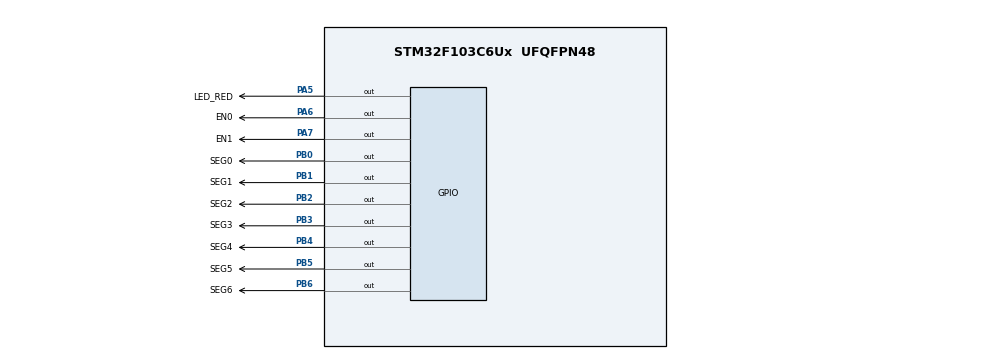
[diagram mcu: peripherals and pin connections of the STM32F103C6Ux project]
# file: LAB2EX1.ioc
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Mcu.Family=STM32F1
Mcu.Name=STM32F103C6Ux
Mcu.Package=UFQFPN48
NVIC.PriorityGroup=NVIC_PRIORITYGROUP_4
NVIC.TIM2_IRQn=true\:0\:0\:false\:false\:true\:true\:true
PA5.GPIO_Label=LED_RED
PA5.Signal=GPIO_Output
PA6.GPIO_Label=EN0
PA6.Signal=GPIO_Output
PA7.GPIO_Label=EN1
PA7.Signal=GPIO_Output
PB0.GPIO_Label=SEG0
PB0.Signal=GPIO_Output
PB1.GPIO_Label=SEG1
PB1.Signal=GPIO_Output
PB2.GPIO_Label=SEG2
PB2.Signal=GPIO_Output
PB3.GPIO_Label=SEG3
PB3.Signal=GPIO_Output
PB4.GPIO_Label=SEG4
PB4.Signal=GPIO_Output
PB5.GPIO_Label=SEG5
PB5.Signal=GPIO_Output
PB6.GPIO_Label=SEG6
PB6.Signal=GPIO_Output
ProjectManager.HeapSize=0x200
ProjectManager.StackSize=0x400
ProjectManager.TargetToolchain=STM32CubeIDE
RCC.APB1Freq_Value=8000000
RCC.APB2Freq_Value=8000000
TIM2.Period=9
TIM2.Prescaler=7999
VP_SYS_VS_ND.Mode=No_Debug
VP_TIM2_VS_ClockSourceINT.Mode=Internal
board=custom

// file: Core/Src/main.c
/* USER CODE BEGIN Header */
/**
  ******************************************************************************
  * @file           : main.c
  * @brief          : Main program body
  ******************************************************************************
  * @attention
  *
  * <h2><center>&copy; Copyright (c) 2025 STMicroelectronics.
  * All rights reserved.</center></h2>
  *
  * This software component is licensed by ST under BSD 3-Clause license,
  * the "License"; You may not use this file except in compliance with the
  * License. You may obtain a copy of the License at:
  *                        opensource.org/licenses/BSD-3-Clause
  *
  ******************************************************************************
  */
/* USER CODE END Header */
#include "main.h"

TIM_HandleTypeDef htim2;

/* USER CODE BEGIN PV */

static const uint8_t segmap[10] = {
  0b1111110, // 0
  0b0110000, // 1
  0b1101101, // 2
  0b1111001, // 3
  0b0110011, // 4
  0b1011011, // 5
  0b1011111, // 6
  0b1110000, // 7
  0b1111111, // 8
  0b1111011  // 9
};

// active-low for common-anode
#define SEG_ON  GPIO_PIN_RESET
#define SEG_OFF GPIO_PIN_SET

// ===== write segments =====

static inline void write_segments(uint8_t m) {
  HAL_GPIO_WritePin(SEG6_GPIO_Port, SEG6_Pin, (m & (1<<0)) ? SEG_ON : SEG_OFF); // a
  HAL_GPIO_WritePin(SEG5_GPIO_Port, SEG5_Pin, (m & (1<<1)) ? SEG_ON : SEG_OFF); // b
  HAL_GPIO_WritePin(SEG4_GPIO_Port, SEG4_Pin, (m & (1<<2)) ? SEG_ON : SEG_OFF); // c
  HAL_GPIO_WritePin(SEG3_GPIO_Port, SEG3_Pin, (m & (1<<3)) ? SEG_ON : SEG_OFF); // d
  HAL_GPIO_WritePin(SEG2_GPIO_Port, SEG2_Pin, (m & (1<<4)) ? SEG_ON : SEG_OFF); // e
  HAL_GPIO_WritePin(SEG1_GPIO_Port, SEG1_Pin, (m & (1<<5)) ? SEG_ON : SEG_OFF); // f
  HAL_GPIO_WritePin(SEG0_GPIO_Port, SEG0_Pin, (m & (1<<6)) ? SEG_ON : SEG_OFF); // g
}

void display7SEG(int num) {
  if (num < 0 || num > 9) num = 0;
  write_segments(segmap[num]);
}

static volatile uint16_t cnt_500ms = 0;
static volatile uint16_t cnt_1s    = 0;
static volatile uint8_t  which_digit = 0;

/* USER CODE END PV */

void SystemClock_Config(void);
static void MX_GPIO_Init(void);
static void MX_TIM2_Init(void);

/* USER CODE BEGIN 0 */
static inline void enable_EN0(void){
  HAL_GPIO_WritePin(EN0_GPIO_Port, EN0_Pin, GPIO_PIN_RESET); // enable
  HAL_GPIO_WritePin(EN1_GPIO_Port, EN1_Pin, GPIO_PIN_SET);   // disable other
}
static inline void enable_EN1(void){
  HAL_GPIO_WritePin(EN0_GPIO_Port, EN0_Pin, GPIO_PIN_SET);   // disable other
  HAL_GPIO_WritePin(EN1_GPIO_Port, EN1_Pin, GPIO_PIN_RESET); // enable
}
static inline void disable_both(void){
  HAL_GPIO_WritePin(EN0_GPIO_Port, EN0_Pin, GPIO_PIN_SET);
  HAL_GPIO_WritePin(EN1_GPIO_Port, EN1_Pin, GPIO_PIN_SET);
}

static inline void show_left_digit(void){
  display7SEG(1);
  enable_EN0();
}
static inline void show_right_digit(void){
  display7SEG(2);
  enable_EN1();
}
/* USER CODE END 0 */

int main(void)
{

  /* MCU Configuration--------------------------------------------------------*/

  /* Reset of all peripherals, Initializes the Flash interface and the Systick. */
  HAL_Init();

  /* Configure the system clock */
  SystemClock_Config();

  /* Initialize all configured peripherals */
  MX_GPIO_Init();
  MX_TIM2_Init();
  /* USER CODE BEGIN 2 */
  HAL_TIM_Base_Start_IT(&htim2);
  /* USER CODE END 2 */

  /* Infinite loop */
  while (1)
  {

  }
}

void SystemClock_Config(void)
{
  RCC_OscInitTypeDef RCC_OscInitStruct = {0};
  RCC_ClkInitTypeDef RCC_ClkInitStruct = {0};

  /** Initializes the RCC Oscillators according to the specified parameters
  * in the RCC_OscInitTypeDef structure.
  */
  RCC_OscInitStruct.OscillatorType = RCC_OSCILLATORTYPE_HSI;
  RCC_OscInitStruct.HSIState = RCC_HSI_ON;
  RCC_OscInitStruct.HSICalibrationValue = RCC_HSICALIBRATION_DEFAULT;
  RCC_OscInitStruct.PLL.PLLState = RCC_PLL_NONE;
  if (HAL_RCC_OscConfig(&RCC_OscInitStruct) != HAL_OK)
  {
    Error_Handler();
  }
  /** Initializes the CPU, AHB and APB buses clocks
  */
  RCC_ClkInitStruct.ClockType = RCC_CLOCKTYPE_HCLK|RCC_CLOCKTYPE_SYSCLK
                              |RCC_CLOCKTYPE_PCLK1|RCC_CLOCKTYPE_PCLK2;
  RCC_ClkInitStruct.SYSCLKSource = RCC_SYSCLKSOURCE_HSI;
  RCC_ClkInitStruct.AHBCLKDivider = RCC_SYSCLK_DIV1;
  RCC_ClkInitStruct.APB1CLKDivider = RCC_HCLK_DIV1;
  RCC_ClkInitStruct.APB2CLKDivider = RCC_HCLK_DIV1;

  if (HAL_RCC_ClockConfig(&RCC_ClkInitStruct, FLASH_LATENCY_0) != HAL_OK)
  {
    Error_Handler();
  }
}

static void MX_TIM2_Init(void)
{

  TIM_ClockConfigTypeDef sClockSourceConfig = {0};
  TIM_MasterConfigTypeDef sMasterConfig = {0};

  htim2.Instance = TIM2;
  htim2.Init.Prescaler = 7999;
  htim2.Init.CounterMode = TIM_COUNTERMODE_UP;
  htim2.Init.Period = 9;
  htim2.Init.ClockDivision = TIM_CLOCKDIVISION_DIV1;
  htim2.Init.AutoReloadPreload = TIM_AUTORELOAD_PRELOAD_DISABLE;
  if (HAL_TIM_Base_Init(&htim2) != HAL_OK)
  {
    Error_Handler();
  }
  sClockSourceConfig.ClockSource = TIM_CLOCKSOURCE_INTERNAL;
  if (HAL_TIM_ConfigClockSource(&htim2, &sClockSourceConfig) != HAL_OK)
  {
    Error_Handler();
  }
  sMasterConfig.MasterOutputTrigger = TIM_TRGO_RESET;
  sMasterConfig.MasterSlaveMode = TIM_MASTERSLAVEMODE_DISABLE;
  if (HAL_TIMEx_MasterConfigSynchronization(&htim2, &sMasterConfig) != HAL_OK)
  {
    Error_Handler();
  }

}

static void MX_GPIO_Init(void)
{
  GPIO_InitTypeDef GPIO_InitStruct = {0};

  /* GPIO Ports Clock Enable */
  __HAL_RCC_GPIOA_CLK_ENABLE();
  __HAL_RCC_GPIOB_CLK_ENABLE();

  /*Configure GPIO pin Output Level */
  HAL_GPIO_WritePin(GPIOA, LED_RED_Pin|EN0_Pin|EN1_Pin, GPIO_PIN_RESET);

  /*Configure GPIO pin Output Level */
  HAL_GPIO_WritePin(GPIOB, SEG0_Pin|SEG1_Pin|SEG2_Pin|SEG3_Pin
                          |SEG4_Pin|SEG5_Pin|SEG6_Pin, GPIO_PIN_RESET);

  /*Configure GPIO pins : LED_RED_Pin EN0_Pin EN1_Pin */
  GPIO_InitStruct.Pin = LED_RED_Pin|EN0_Pin|EN1_Pin;
  GPIO_InitStruct.Mode = GPIO_MODE_OUTPUT_PP;
  GPIO_InitStruct.Pull = GPIO_NOPULL;
  GPIO_InitStruct.Speed = GPIO_SPEED_FREQ_LOW;
  HAL_GPIO_Init(GPIOA, &GPIO_InitStruct);

  /*Configure GPIO pins : SEG0_Pin SEG1_Pin SEG2_Pin SEG3_Pin
                           SEG4_Pin SEG5_Pin SEG6_Pin */
  GPIO_InitStruct.Pin = SEG0_Pin|SEG1_Pin|SEG2_Pin|SEG3_Pin
                          |SEG4_Pin|SEG5_Pin|SEG6_Pin;
  GPIO_InitStruct.Mode = GPIO_MODE_OUTPUT_PP;
  GPIO_InitStruct.Pull = GPIO_NOPULL;
  GPIO_InitStruct.Speed = GPIO_SPEED_FREQ_LOW;
  HAL_GPIO_Init(GPIOB, &GPIO_InitStruct);

}

/* USER CODE BEGIN 4 */
void HAL_TIM_PeriodElapsedCallback(TIM_HandleTypeDef *htim){
  if (htim->Instance == TIM2){
    if (++cnt_1s >= 100){
      cnt_1s = 0;
      HAL_GPIO_TogglePin(LED_RED_GPIO_Port, LED_RED_Pin);
    }

    if (++cnt_500ms >= 50){
      cnt_500ms = 0;
      which_digit ^= 1;
    }

    if (which_digit == 0) {
      show_left_digit();
    } else {
      show_right_digit();
    }
  }
}
/* USER CODE END 4 */

void Error_Handler(void)
{
  __disable_irq();
  while (1)
  {
  }
}

/************************ (C) COPYRIGHT STMicroelectronics *****END OF FILE****/
